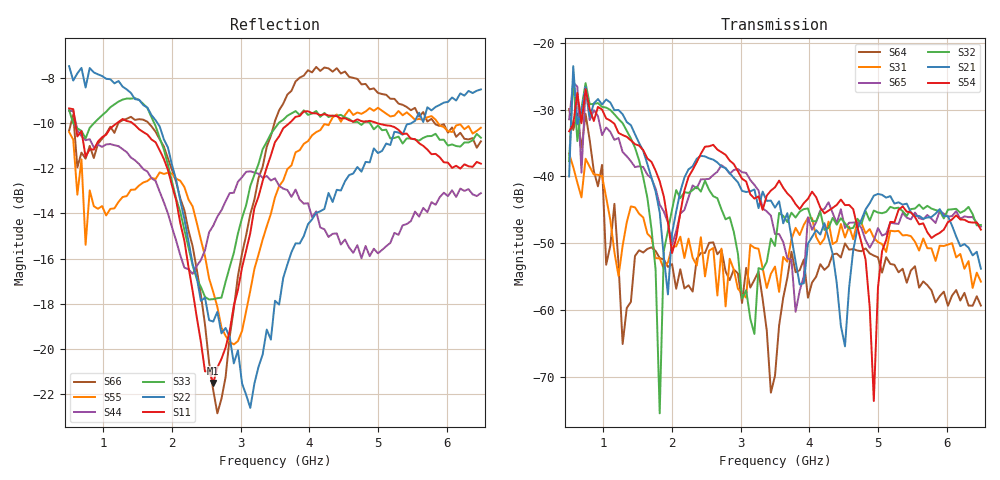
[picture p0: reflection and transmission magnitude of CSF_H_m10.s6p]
!Keysight Technologies,M9804A,MY58100912,A.14.10.03
!Date: Thursday, April 27, 2023 10:28:33
!Correction: S11(C  6-Port  )
!S12(C  6-Port  )
!S13(C  6-Port  )
!S14(C  6-Port  )
!S15(C  6-Port  )
!S16(C  6-Port  )
!S21(C  6-Port  )
!S22(C  6-Port  )
!S23(C  6-Port  )
!S24(C  6-Port  )
!S25(C  6-Port  )
!S26(C  6-Port  )
!S31(C  6-Port  )
!S32(C  6-Port  )
!S33(C  6-Port  )
!S34(C  6-Port  )
!S35(C  6-Port  )
!S36(C  6-Port  )
!S41(C  6-Port  )
!S42(C  6-Port  )
!S43(C  6-Port  )
!S44(C  6-Port  )
!S45(C  6-Port  )
!S46(C  6-Port  )
!S51(C  6-Port  )
!S52(C  6-Port  )
!S53(C  6-Port  )
!S54(C  6-Port  )
!S55(C  6-Port  )
!S56(C  6-Port  )
!S61(C  6-Port  )
!S62(C  6-Port  )
!S63(C  6-Port  )
!S64(C  6-Port  )
!S65(C  6-Port  )
!S66(C  6-Port  )
!S6P File: Measurement: :
# Hz S  RI  R 50
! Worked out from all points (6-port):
!   101 points, 500 MHz to 6.5 GHz, reference 50 ohm
!   strongest paths, dB at 500 MHz, 2 GHz, 3.5 GHz, 5 GHz, 6.5 GHz:
!     S54: -33.2, -51.5, -41.6, -56.7, -48.0
!     S21: -40.0, -48.5, -44.7, -42.6, -53.8
!     S32: -37.7, -44.9, -50.4, -45.4, -47.3
!     S65: -31.4, -50.2, -48.6, -47.7, -47.5
!     S31: -36.6, -50.5, -53.5, -49.8, -55.7
!     S64: -29.9, -53.1, -69.8, -52.1, -59.3
!   lowest |S11| = -21.5 dB at 2.6 GHz (marker M1), VSWR 1.18, Z = 42.5 + j2.15 ohm
!   |S11| at or under -10 dB: 590.2 MHz to 1.201 GHz (611 MHz wide, 68.2 % of centre); 1.419 GHz to 3.713 GHz (2.294 GHz wide, 89.4 % of centre); 4.978 GHz to end of sweep
